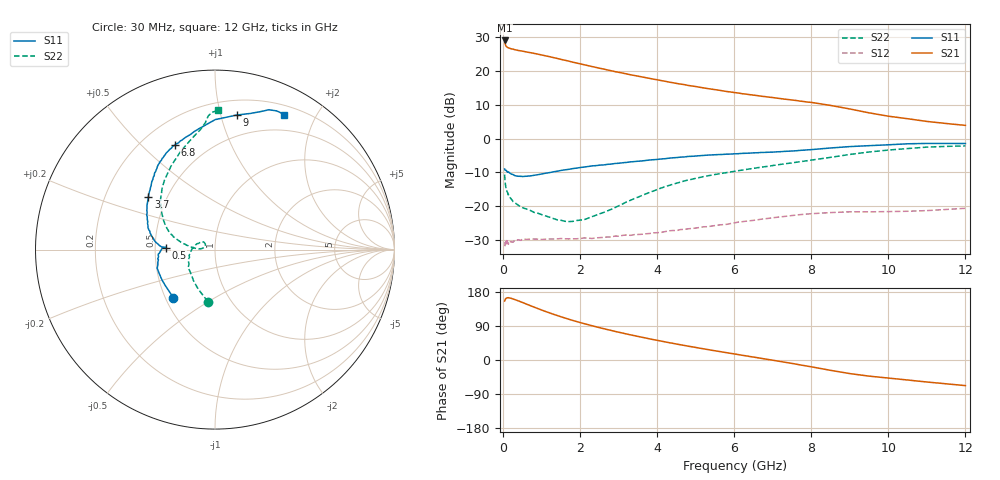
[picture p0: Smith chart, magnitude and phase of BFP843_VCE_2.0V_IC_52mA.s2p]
! Infineon Technologies  Discrete & RF Semiconductors
! BFP843
! VCE =  2.0 V,  IC =  52 mA
! Common Emitter S-Parameters:  Aug 2013
# GHz  S  MA  R  50
!  f  S11  S21  S12  S22
! GHz  MAG  ANG  MAG  ANG  MAG  ANG  MAG  ANG
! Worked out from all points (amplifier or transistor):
!   103 points, 30 MHz to 12 GHz, reference 50 ohm
!   highest |S21| = 29.0 dB at 30 MHz (marker M1)
!   |S21| within 3 dB of that: start of sweep to 402 MHz
!   unconditionally stable (mu >= 1): 56.93 MHz to 68.02 MHz; 75.31 MHz to 10.07 GHz
!   at 400 MHz: K = 1.07, MAG = 26.4 dB, |S12| = -30.0 dB
!   at 3.7 GHz: K = 1.42, MAG = 19.3 dB, |S12| = -28.2 dB
!   at 12 GHz: K = 0.82, MSG = 12.3 dB, |S12| = -20.7 dB
!   S11 on the Smith chart (normalised r, x): 30 MHz: 0.55, -0.34; 500 MHz: 0.57, +0.01; 3.7 GHz: 0.39, +0.30; 6.8 GHz: 0.33, +0.63; 9 GHz: 0.32, +1.12; 12 GHz: 0.31, +1.59
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0.03  0.3542 -130.9  28.26 155.7  0.0255 24.4  0.2927 -97.8
0.04  0.342 -143.8  25.84 157.8  0.026 27.0  0.2392 -113.0
0.05  0.3402 -150.1  24.62 160.8  0.0292 20.7  0.2115 -124.3
0.07  0.3384 -162.2  23.13 163.0  0.0296 11.0  0.1826 -141.1
0.1  0.3202 -169.9  22.39 164.3  0.0304 11.1  0.1614 -157.2
0.13  0.3175 -173.8  22.02 164.5  0.0273 10.4  0.1483 -167.3
0.5  0.274 177.6  19.6 151.6  0.0326 6.5  0.0943 156.3
0.9  0.2917 177.3  17.68 135.4  0.0324 7.4  0.0782 146.6
1.2  0.3128 175.4  16.25 124.3  0.0326 8.1  0.0683 147.8
1.7  0.35 169.5  13.95 107.5  0.0327 9.8  0.0589 156.7
2.1  0.3778 164.2  12.34 95.8  0.0338 11.2  0.063 168.9
2.5  0.4034 158.7  10.95 85.2  0.0341 13.7  0.0768 175.7
2.9  0.427 153.0  9.759 75.4  0.036 15.3  0.0952 177.2
3.7  0.4735 141.6  7.946 57.9  0.0389 18.4  0.1513 171.8
4.1  0.4977 136.3  7.196 49.8  0.0408 21.0  0.1854 168.4
4.8  0.543 128.4  6.096 36.4  0.0461 21.5  0.2433 162.8
6.1  0.5958 117.9  4.715 14.3  0.0579 20.1  0.3341 149.7
6.8  0.6231 111.1  4.167 2.6  0.0649 16.6  0.3834 141.7
8.5  0.7243 89.9  3.085 -27.3  0.0801 2.7  0.5263 117.7
9  0.7595 80.8  2.735 -35.9  0.0822 -2.0  0.581 109.1
10.5  0.8352 68.9  1.962 -52.8  0.0838 -10.4  0.7103 94.3
12  0.8426 63.0  1.564 -67.6  0.0927 -18.0  0.7764 88.8
